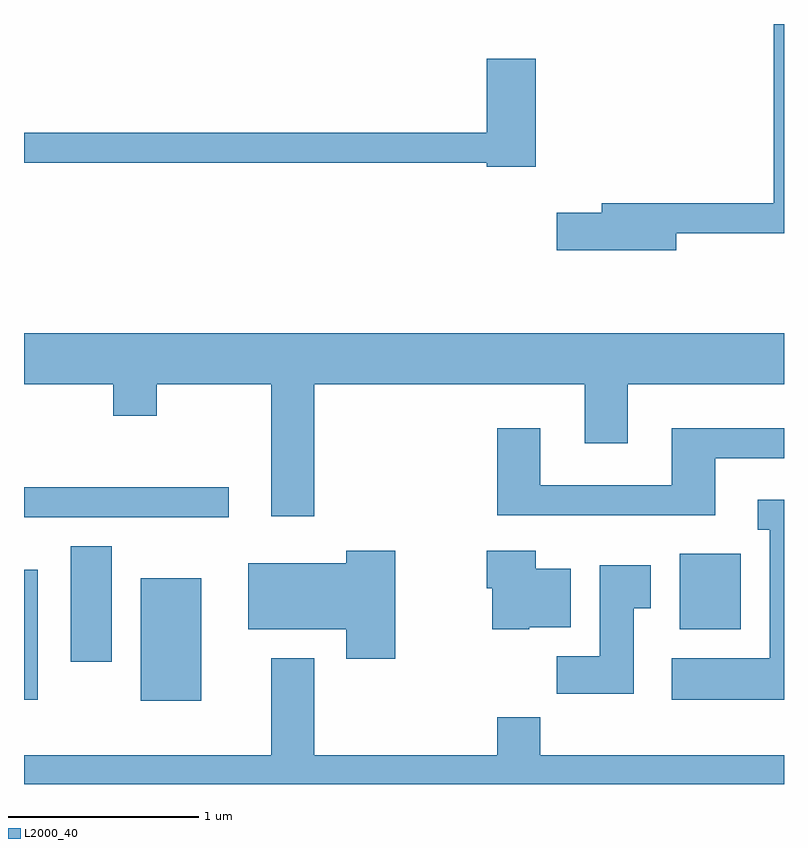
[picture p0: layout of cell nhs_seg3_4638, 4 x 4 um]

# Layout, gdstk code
import gdstk
lib = gdstk.Library(unit=1e-6, precision=1e-09)
def R(c, l, rs):  # rectangles x0, y0, x1, y1
    for r in rs: c.add(gdstk.rectangle(r[:2], r[2:], *l))
def P(c, l, *ps):  # polygons
    for p in ps: c.add(gdstk.Polygon(p, *l))
L2000_40 = (2000, 40)

nhs_seg3_4638 = lib.new_cell('nhs_seg3_4638')
R(nhs_seg3_4638, L2000_40, [(322.226,1144.331,322.544,1144.974), (321.611,1144.336,321.684,1145.019), (321.856,1144.536,322.074,1145.144), (325.061,1144.706,325.384,1145.104), (321.611,1145.296,322.688,1145.454)])
P(nhs_seg3_4638, L2000_40, [(325.044,1146.791),(325.611,1146.791),(325.611,1147.892),(325.556,1147.892),(325.556,1146.949),(324.651,1146.949),(324.651,1146.899),(324.416,1146.899),(324.416,1146.701),(325.044,1146.701)],
  [(324.304,1147.709),(324.046,1147.709),(324.046,1147.319),(321.611,1147.319),(321.611,1147.161),(324.046,1147.161),(324.046,1147.141),(324.304,1147.141)],
  [(323.139,1145.996),(324.561,1145.996),(324.561,1145.686),(324.789,1145.686),(324.789,1145.996),(325.611,1145.996),(325.611,1146.264),(321.611,1146.264),(321.611,1145.996),(322.081,1145.996),(322.081,1145.831),(322.309,1145.831),(322.309,1145.996),(322.911,1145.996),(322.911,1145.301),(323.139,1145.301)],
  [(325.249,1145.606),(325.611,1145.606),(325.611,1145.764),(325.021,1145.764),(325.021,1145.464),(324.329,1145.464),(324.329,1145.764),(324.101,1145.764),(324.101,1145.306),(325.249,1145.306)],
  [(325.611,1145.389),(325.473,1145.389),(325.473,1145.231),(325.536,1145.231),(325.536,1144.554),(325.021,1144.554),(325.021,1144.336),(325.611,1144.336)],
  [(324.27,1144.716),(324.489,1144.716),(324.489,1145.024),(324.304,1145.024),(324.304,1145.119),(324.046,1145.119),(324.046,1144.921),(324.076,1144.921),(324.076,1144.706),(324.27,1144.706)],
  [(323.564,1145.119),(323.306,1145.119),(323.306,1145.054),(322.791,1145.054),(322.791,1144.706),(323.306,1144.706),(323.306,1144.551),(323.564,1144.551)],
  [(324.819,1144.816),(324.909,1144.816),(324.909,1145.044),(324.641,1145.044),(324.641,1144.564),(324.416,1144.564),(324.416,1144.366),(324.819,1144.366)],
  [(325.611,1144.044),(324.329,1144.044),(324.329,1144.244),(324.101,1144.244),(324.101,1144.044),(323.139,1144.044),(323.139,1144.554),(322.911,1144.554),(322.911,1144.044),(321.611,1144.044),(321.611,1143.892),(325.611,1143.892)])

lib.write_gds('nhs_seg3_4638.gds')
